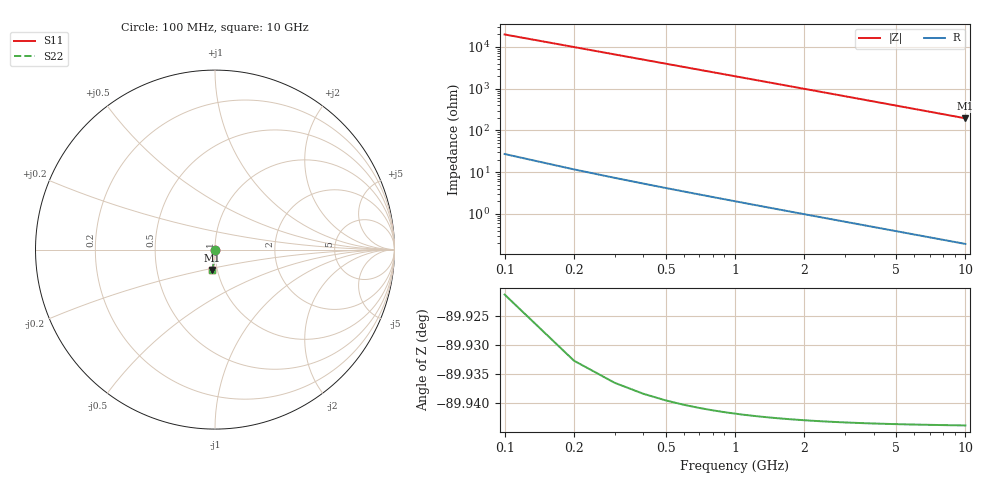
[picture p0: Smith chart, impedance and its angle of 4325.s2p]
# Hz S RI R 50.00
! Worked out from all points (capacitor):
!   100 points, 100 MHz to 10 GHz, reference 50 ohm
!   read as one part in shunt: C = 80.1 fF near 100 MHz
!   lowest |Z| = 195 ohm at 10 GHz (marker M1)
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1e8  2.77e-05 -0.00113  1 -0.00139  1 -0.00139  2.77e-05 -0.00113
2e8  2.19e-05 -0.00226  1 -0.00278  1 -0.00278  2.19e-05 -0.00226
3e8  1.3e-05 -0.00339  1 -0.00416  1 -0.00416  1.3e-05 -0.00339
4e8  9.46e-07 -0.00452  0.9999 -0.00555  0.9999 -0.00555  9.46e-07 -0.00452
5e8  -1.43e-05 -0.00565  0.9999 -0.00694  0.9999 -0.00694  -1.43e-05 -0.00565
6e8  -3.27e-05 -0.00678  0.9999 -0.00833  0.9999 -0.00833  -3.27e-05 -0.00678
7e8  -5.42e-05 -0.00791  0.9999 -0.00972  0.9999 -0.00972  -5.42e-05 -0.00791
8e8  -7.89e-05 -0.00904  0.9999 -0.0111  0.9999 -0.0111  -7.89e-05 -0.00904
9e8  -0.000107 -0.0102  0.9998 -0.0125  0.9998 -0.0125  -0.000107 -0.0102
1.1e9  -0.000172 -0.0124  0.9998 -0.0153  0.9998 -0.0153  -0.000172 -0.0124
1.4e9  -0.000294 -0.0158  0.9996 -0.0195  0.9996 -0.0195  -0.000294 -0.0158
1.8e9  -0.0005 -0.0204  0.9994 -0.025  0.9994 -0.025  -0.0005 -0.0204
2.1e9  -0.000688 -0.0238  0.9992 -0.0292  0.9992 -0.0292  -0.000688 -0.0238
2.5e9  -0.000984 -0.0283  0.9989 -0.0348  0.9989 -0.0348  -0.000984 -0.0283
2.9e9  -0.00133 -0.0328  0.9986 -0.0404  0.9986 -0.0404  -0.00133 -0.0328
3.4e9  -0.00184 -0.0385  0.9981 -0.0474  0.9981 -0.0474  -0.00184 -0.0385
4.2e9  -0.00281 -0.0476  0.9971 -0.0585  0.9971 -0.0585  -0.00281 -0.0476
5.1e9  -0.00416 -0.0578  0.9957 -0.0711  0.9957 -0.0711  -0.00416 -0.0578
5.9e9  -0.00558 -0.0669  0.9942 -0.0823  0.9942 -0.0823  -0.00558 -0.0669
6.7e9  -0.00721 -0.076  0.9926 -0.0935  0.9926 -0.0935  -0.00721 -0.076
8.4e9  -0.0113 -0.0951  0.9883 -0.1172  0.9883 -0.1172  -0.0113 -0.0951
1e10  -0.0161 -0.1129  0.9835 -0.1393  0.9835 -0.1393  -0.0161 -0.1129
